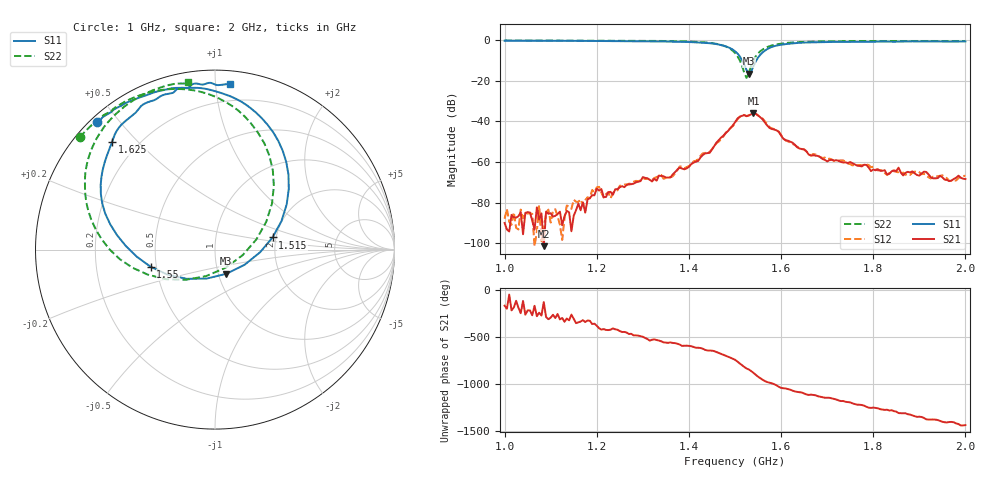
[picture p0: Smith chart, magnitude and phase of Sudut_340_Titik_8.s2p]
# Hz S RI R 50
! CMT, C1220, 16058040, 17.2.0/1
! Date: 14/08/2018 12:09:25
! Data: Format (Calibration Info)
! Freq  S11: Re/Im (F2)  S21: Re/Im (F2)  S12: Re/Im (F2)  S22: Re/Im (F2)
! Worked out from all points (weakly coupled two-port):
!   201 points, 1 GHz to 2 GHz, reference 50 ohm
!   highest |S21| = -36.08 dB at 1.54 GHz (marker M1); lowest = -101.4 dB at 1.085 GHz (marker M2)
!   lowest |S11| = -16.5 dB at 1.53 GHz (marker M3), VSWR 1.35, Z = 54.5 - j15.1 ohm
!   |S11| at or under -10 dB: 1.516 GHz to 1.546 GHz (30.65 MHz wide, 2 % of centre)
!   |S22| runs from -18.6 to -0.2 dB; largest |S21 - S12| = 0.00064
!   S11 on the Smith chart (normalised r, x): 1 GHz: 0.02, +0.44; 1.515 GHz: 1.91, +0.29; 1.55 GHz: 0.47, -0.10; 1.625 GHz: 0.11, +0.42; 2 GHz: 0.09, +1.09
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1e9  -0.6547 0.7098  -3.07e-05 -8.04e-06  6.37e-06 -4e-05  -0.7535 0.6256
1.085e9  -0.5724 0.7719  -5.1e-06 -6.87e-06  2.21e-05 -1.26e-05  -0.6919 0.6891
1.17e9  -0.4871 0.8215  7.78e-05 6.68e-05  5.65e-05 6.47e-05  -0.6164 0.7514
1.2e9  -0.446 0.8369  0.000211 -7.2e-05  0.000221 -9e-05  -0.5822 0.765
1.23e9  -0.4084 0.8515  9.03e-05 -0.000162  7.84e-05 -0.000102  -0.5604 0.7885
1.25e9  -0.3704 0.8645  5.87e-05 -0.000234  9.01e-05 -0.000246  -0.5356 0.8048
1.335e9  -0.2305 0.9001  -0.000466 -2.96e-05  -0.000459 2.39e-05  -0.3997 0.8661
1.36e9  -0.1593 0.9012  -0.000406 0.000113  -0.000395 0.000149  -0.3437 0.8813
1.45e9  0.1717 0.808  0.000478 0.00198  0.000621 0.00197  0.0242 0.8411
1.5e9  0.4111 0.3383  0.0089 -0.00335  0.00836 -0.00314  0.328 0.3533
1.515e9  0.3206 0.0674  0.00309 -0.0134  0.00348 -0.0134  0.2304 0.0566
1.525e9  0.1641 -0.0851  -0.00534 -0.0123  -0.00528 -0.0125  0.0597 -0.1008
1.53e9  0.0627 -0.135  -0.00778 -0.0116  -0.00783 -0.0117  -0.0492 -0.1474
1.54e9  -0.1577 -0.1628  -0.0147 -0.00546  -0.0145 -0.00547  -0.2737 -0.1651
1.55e9  -0.3581 -0.096  -0.0132 0.00487  -0.0134 0.00435  -0.4593 -0.1011
1.58e9  -0.6283 0.2574  0.000107 0.00649  0.000311 0.00674  -0.706 0.2162
1.625e9  -0.574 0.5979  0.00294 0.00056  0.00273 0.000605  -0.7015 0.521
1.67e9  -0.4625 0.7449  0.00122 -0.000825  0.00132 -0.000867  -0.6249 0.6734
1.835e9  -0.1611 0.8992  -0.000481 0.000181  -0.00049 0.000226  -0.3756 0.8747
1.855e9  -0.1406 0.9084  -0.000493 0.000537  -0.000379 0.000407  -0.3482 0.8865
1.865e9  -0.1292 0.9192  -0.000309 0.000354  -0.0003 0.000462  -0.3342 0.8919
2e9  0.0852 0.9212  0.000382 2.77e-05  0.000461 -1.56e-05  -0.1507 0.9335
